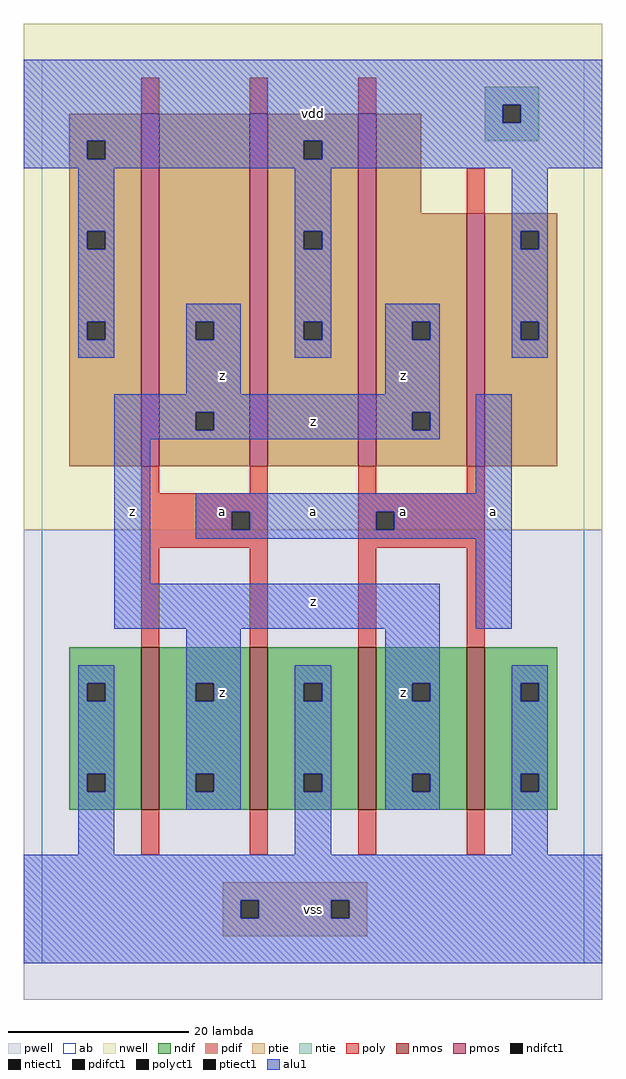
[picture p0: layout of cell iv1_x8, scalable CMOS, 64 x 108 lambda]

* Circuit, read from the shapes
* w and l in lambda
.subckt iv1_x8 a vdd vss z
M1 z a vss vss nfet w=18 l=2 m=4
M2 z a vdd vdd pfet w=39 l=2 m=3
M3 vdd a z vdd pfet w=28 l=2
.ends

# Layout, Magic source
magic
tech scmos
<< ab >>
rect 0 0 60 100
<< nwell >>
rect -2 48 62 104
<< pwell >>
rect -2 -4 62 48
<< poly >>
rect 11 94 13 98
rect 23 94 25 98
rect 35 94 37 98
rect 47 83 49 88
rect 11 52 13 55
rect 23 52 25 55
rect 11 50 25 52
rect 11 48 21 50
rect 23 48 25 50
rect 11 46 25 48
rect 11 35 13 46
rect 23 35 25 46
rect 35 52 37 55
rect 47 52 49 55
rect 35 50 49 52
rect 35 48 37 50
rect 39 48 49 50
rect 35 46 49 48
rect 35 35 37 46
rect 47 35 49 46
rect 11 12 13 17
rect 23 12 25 17
rect 35 12 37 17
rect 47 12 49 17
<< ndif >>
rect 3 31 11 35
rect 3 29 5 31
rect 7 29 11 31
rect 3 21 11 29
rect 3 19 5 21
rect 7 19 11 21
rect 3 17 11 19
rect 13 31 23 35
rect 13 29 17 31
rect 19 29 23 31
rect 13 21 23 29
rect 13 19 17 21
rect 19 19 23 21
rect 13 17 23 19
rect 25 31 35 35
rect 25 29 29 31
rect 31 29 35 31
rect 25 21 35 29
rect 25 19 29 21
rect 31 19 35 21
rect 25 17 35 19
rect 37 31 47 35
rect 37 29 41 31
rect 43 29 47 31
rect 37 21 47 29
rect 37 19 41 21
rect 43 19 47 21
rect 37 17 47 19
rect 49 31 57 35
rect 49 29 53 31
rect 55 29 57 31
rect 49 21 57 29
rect 49 19 53 21
rect 55 19 57 21
rect 49 17 57 19
<< pdif >>
rect 3 91 11 94
rect 3 89 5 91
rect 7 89 11 91
rect 3 81 11 89
rect 3 79 5 81
rect 7 79 11 81
rect 3 71 11 79
rect 3 69 5 71
rect 7 69 11 71
rect 3 55 11 69
rect 13 71 23 94
rect 13 69 17 71
rect 19 69 23 71
rect 13 61 23 69
rect 13 59 17 61
rect 19 59 23 61
rect 13 55 23 59
rect 25 91 35 94
rect 25 89 29 91
rect 31 89 35 91
rect 25 81 35 89
rect 25 79 29 81
rect 31 79 35 81
rect 25 71 35 79
rect 25 69 29 71
rect 31 69 35 71
rect 25 55 35 69
rect 37 83 42 94
rect 37 71 47 83
rect 37 69 41 71
rect 43 69 47 71
rect 37 61 47 69
rect 37 59 41 61
rect 43 59 47 61
rect 37 55 47 59
rect 49 81 57 83
rect 49 79 53 81
rect 55 79 57 81
rect 49 71 57 79
rect 49 69 53 71
rect 55 69 57 71
rect 49 55 57 69
<< alu1 >>
rect -2 95 62 100
rect -2 93 51 95
rect 53 93 62 95
rect -2 91 62 93
rect -2 89 5 91
rect 7 89 29 91
rect 31 89 62 91
rect -2 88 62 89
rect 4 81 8 88
rect 4 79 5 81
rect 7 79 8 81
rect 4 71 8 79
rect 28 81 32 88
rect 28 79 29 81
rect 31 79 32 81
rect 4 69 5 71
rect 7 69 8 71
rect 4 67 8 69
rect 16 71 22 73
rect 16 69 17 71
rect 19 69 22 71
rect 16 63 22 69
rect 28 71 32 79
rect 52 81 56 88
rect 52 79 53 81
rect 55 79 56 81
rect 28 69 29 71
rect 31 69 32 71
rect 28 67 32 69
rect 38 71 44 73
rect 38 69 41 71
rect 43 69 44 71
rect 38 63 44 69
rect 52 71 56 79
rect 52 69 53 71
rect 55 69 56 71
rect 52 67 56 69
rect 8 61 44 63
rect 8 59 17 61
rect 19 59 41 61
rect 43 59 44 61
rect 8 58 44 59
rect 8 42 12 58
rect 48 52 52 63
rect 17 50 52 52
rect 17 48 21 50
rect 23 48 37 50
rect 39 48 52 50
rect 17 47 52 48
rect 8 37 44 42
rect 48 37 52 47
rect 4 31 8 33
rect 4 29 5 31
rect 7 29 8 31
rect 4 21 8 29
rect 4 19 5 21
rect 7 19 8 21
rect 4 12 8 19
rect 16 31 22 37
rect 16 29 17 31
rect 19 29 22 31
rect 16 21 22 29
rect 16 19 17 21
rect 19 19 22 21
rect 16 17 22 19
rect 28 31 32 33
rect 28 29 29 31
rect 31 29 32 31
rect 28 21 32 29
rect 28 19 29 21
rect 31 19 32 21
rect 28 12 32 19
rect 38 31 44 37
rect 38 29 41 31
rect 43 29 44 31
rect 38 21 44 29
rect 38 19 41 21
rect 43 19 44 21
rect 38 17 44 19
rect 52 31 56 33
rect 52 29 53 31
rect 55 29 56 31
rect 52 21 56 29
rect 52 19 53 21
rect 55 19 56 21
rect 52 12 56 19
rect -2 7 62 12
rect -2 5 22 7
rect 24 5 32 7
rect 34 5 62 7
rect -2 0 62 5
<< ptie >>
rect 20 7 36 9
rect 20 5 22 7
rect 24 5 32 7
rect 34 5 36 7
rect 20 3 36 5
<< ntie >>
rect 49 95 55 97
rect 49 93 51 95
rect 53 93 55 95
rect 49 91 55 93
<< nmos >>
rect 11 17 13 35
rect 23 17 25 35
rect 35 17 37 35
rect 47 17 49 35
<< pmos >>
rect 11 55 13 94
rect 23 55 25 94
rect 35 55 37 94
rect 47 55 49 83
<< polyct1 >>
rect 21 48 23 50
rect 37 48 39 50
<< ndifct1 >>
rect 5 29 7 31
rect 5 19 7 21
rect 17 29 19 31
rect 17 19 19 21
rect 29 29 31 31
rect 29 19 31 21
rect 41 29 43 31
rect 41 19 43 21
rect 53 29 55 31
rect 53 19 55 21
<< ntiect1 >>
rect 51 93 53 95
<< ptiect1 >>
rect 22 5 24 7
rect 32 5 34 7
<< pdifct1 >>
rect 5 89 7 91
rect 5 79 7 81
rect 5 69 7 71
rect 17 69 19 71
rect 17 59 19 61
rect 29 89 31 91
rect 29 79 31 81
rect 29 69 31 71
rect 41 69 43 71
rect 41 59 43 61
rect 53 79 55 81
rect 53 69 55 71
<< labels >>
rlabel alu1 20 30 20 30 6 z
rlabel alu1 10 50 10 50 6 z
rlabel alu1 20 50 20 50 6 a
rlabel alu1 20 65 20 65 6 z
rlabel alu1 30 6 30 6 6 vss
rlabel alu1 30 40 30 40 6 z
rlabel alu1 30 50 30 50 6 a
rlabel alu1 30 60 30 60 6 z
rlabel alu1 30 94 30 94 6 vdd
rlabel alu1 40 30 40 30 6 z
rlabel alu1 40 50 40 50 6 a
rlabel alu1 40 65 40 65 6 z
rlabel alu1 50 50 50 50 6 a
<< end >>
